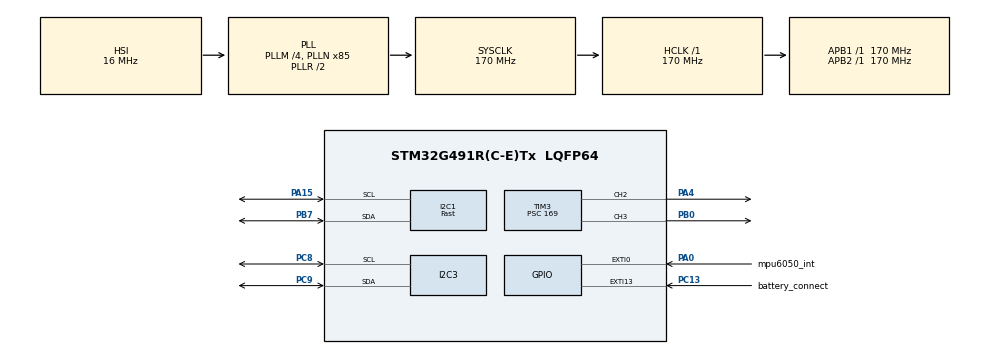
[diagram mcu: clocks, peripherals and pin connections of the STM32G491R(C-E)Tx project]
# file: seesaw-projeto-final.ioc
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Dma.I2C1_RX.0.Direction=DMA_PERIPH_TO_MEMORY
Dma.I2C1_RX.0.EventEnable=DISABLE
Dma.I2C1_RX.0.Instance=DMA1_Channel1
Dma.I2C1_RX.0.MemDataAlignment=DMA_MDATAALIGN_BYTE
Dma.I2C1_RX.0.MemInc=DMA_MINC_ENABLE
Dma.I2C1_RX.0.Mode=DMA_NORMAL
Dma.I2C1_RX.0.PeriphDataAlignment=DMA_PDATAALIGN_BYTE
Dma.I2C1_RX.0.PeriphInc=DMA_PINC_DISABLE
Dma.I2C1_RX.0.Polarity=HAL_DMAMUX_REQ_GEN_RISING
Dma.I2C1_RX.0.Priority=DMA_PRIORITY_LOW
Dma.I2C1_RX.0.RequestNumber=1
Dma.I2C1_RX.0.SignalID=NONE
Dma.I2C1_RX.0.SyncEnable=DISABLE
Dma.I2C1_RX.0.SyncPolarity=HAL_DMAMUX_SYNC_NO_EVENT
Dma.I2C1_RX.0.SyncRequestNumber=1
Dma.I2C1_RX.0.SyncSignalID=NONE
Dma.I2C3_TX.1.Direction=DMA_MEMORY_TO_PERIPH
Dma.I2C3_TX.1.EventEnable=DISABLE
Dma.I2C3_TX.1.Instance=DMA1_Channel2
Dma.I2C3_TX.1.MemDataAlignment=DMA_MDATAALIGN_BYTE
Dma.I2C3_TX.1.MemInc=DMA_MINC_ENABLE
Dma.I2C3_TX.1.Mode=DMA_NORMAL
Dma.I2C3_TX.1.PeriphDataAlignment=DMA_PDATAALIGN_BYTE
Dma.I2C3_TX.1.PeriphInc=DMA_PINC_DISABLE
Dma.I2C3_TX.1.Polarity=HAL_DMAMUX_REQ_GEN_RISING
Dma.I2C3_TX.1.Priority=DMA_PRIORITY_LOW
Dma.I2C3_TX.1.RequestNumber=1
Dma.I2C3_TX.1.SignalID=NONE
Dma.I2C3_TX.1.SyncEnable=DISABLE
Dma.I2C3_TX.1.SyncPolarity=HAL_DMAMUX_SYNC_NO_EVENT
Dma.I2C3_TX.1.SyncRequestNumber=1
Dma.I2C3_TX.1.SyncSignalID=NONE
Dma.Request0=I2C1_RX
Dma.Request1=I2C3_TX
I2C1.I2C_Speed_Mode=I2C_Fast
I2C1.Timing=0x40621236
I2C3.Timing=0x40B285C2
Mcu.Family=STM32G4
Mcu.Name=STM32G491R(C-E)Tx
Mcu.Package=LQFP64
NVIC.DMA1_Channel1_IRQn=true\:0\:0\:false\:false\:true\:false\:true\:true
NVIC.DMA1_Channel2_IRQn=true\:0\:0\:false\:false\:true\:false\:true\:true
NVIC.EXTI0_IRQn=true\:0\:0\:false\:false\:true\:true\:true\:true
NVIC.EXTI15_10_IRQn=true\:0\:0\:false\:false\:true\:true\:true\:true
NVIC.I2C1_ER_IRQn=true\:0\:0\:false\:false\:true\:true\:true\:true
NVIC.I2C1_EV_IRQn=true\:0\:0\:false\:false\:true\:true\:true\:true
NVIC.PriorityGroup=NVIC_PRIORITYGROUP_4
NVIC.RCC_IRQn=true\:0\:0\:false\:false\:true\:true\:false\:true
NVIC.TIM2_IRQn=true\:0\:0\:false\:false\:true\:true\:true\:true
PA0.GPIO_Label=mpu6050_int
PA0.Signal=GPXTI0
PA13.GPIO_Label=T_SWDIO
PA13.Mode=Serial_Wire
PA13.Signal=SYS_JTMS-SWDIO
PA14.GPIO_Label=T_SWCLK
PA14.Mode=Serial_Wire
PA14.Signal=SYS_JTCK-SWCLK
PA15.Mode=I2C
PA15.Signal=I2C1_SCL
PA2.GPIO_Label=LPUART1_TX [STLINKV3E_VCP_RX]
PA2.Signal=LPUART1_TX
PA3.GPIO_Label=LPUART1_RX [STLINKV3E_VCP_TX]
PA3.Signal=LPUART1_RX
PA4.Signal=S_TIM3_CH2
PB0.Signal=S_TIM3_CH3
PB3.GPIO_Label=T_SWO
PB3.Signal=SYS_JTDO-SWO
PB7.Mode=I2C
PB7.Signal=I2C1_SDA
PC13.GPIO_Label=battery_connect
PC13.Signal=GPXTI13
PC14-OSC32_IN.GPIO_Label=RCC_OSC32_IN
PC14-OSC32_IN.Signal=RCC_OSC32_IN
PC15-OSC32_OUT.GPIO_Label=RCC_OSC32_OUT
PC15-OSC32_OUT.Signal=RCC_OSC32_OUT
PC8.Mode=I2C
PC8.Signal=I2C3_SCL
PC9.Mode=I2C
PC9.Signal=I2C3_SDA
PF0-OSC_IN.GPIO_Label=RCC_OSC_IN
PF0-OSC_IN.Signal=RCC_OSC_IN
PF1-OSC_OUT.GPIO_Label=RCC_OSC_OUT
PF1-OSC_OUT.Signal=RCC_OSC_OUT
ProjectManager.HeapSize=0x200
ProjectManager.StackSize=0x400
ProjectManager.TargetToolchain=STM32CubeIDE
RCC.ADC12Freq_Value=170000000
RCC.ADC345Freq_Value=170000000
RCC.AHBFreq_Value=170000000
RCC.APB1Freq_Value=170000000
RCC.APB1TimFreq_Value=170000000
RCC.APB2Freq_Value=170000000
RCC.APB2TimFreq_Value=170000000
RCC.CortexFreq_Value=170000000
RCC.EXTERNAL_CLOCK_VALUE=12288000
RCC.HCLKFreq_Value=170000000
RCC.HSE_VALUE=24000000
RCC.HSI48_VALUE=48000000
RCC.HSI_VALUE=16000000
RCC.LSE_VALUE=32768
RCC.PLLM=RCC_PLLM_DIV4
RCC.PLLN=85
RCC.RTCClockSelection=RCC_RTCCLKSOURCE_LSE
RCC.SYSCLKFreq_VALUE=170000000
RCC.SYSCLKSource=RCC_SYSCLKSOURCE_PLLCLK
RCC.USBFreq_Value=48000000
RCC.VCOOutputFreq_Value=340000000
SH.S_TIM3_CH2.0=TIM3_CH2,PWM Generation2 CH2
SH.S_TIM3_CH3.0=TIM3_CH3,PWM Generation3 CH3
TIM2.PeriodNoDither=1999
TIM2.Prescaler=169
TIM3.Channel-PWM\ Generation2\ CH2=TIM_CHANNEL_2
TIM3.Channel-PWM\ Generation3\ CH3=TIM_CHANNEL_3
TIM3.PeriodNoDither=19999
TIM3.Prescaler=169
VP_SYS_VS_DBSignals.Mode=DisableDeadBatterySignals
VP_TIM2_VS_ClockSourceINT.Mode=Internal
VP_TIM3_VS_ClockSourceINT.Mode=Internal
board=NUCLEO-G491RE

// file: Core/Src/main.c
/* USER CODE BEGIN Header */
/**
  ******************************************************************************
  * @file           : main.c
  * @brief          : Main program body
  ******************************************************************************
  * @attention
  *
  * Copyright (c) 2026 STMicroelectronics.
  * All rights reserved.
  *
  * This software is licensed under terms that can be found in the LICENSE file
  * in the root directory of this software component.
  * If no LICENSE file comes with this software, it is provided AS-IS.
  *
  ******************************************************************************
  */
/* USER CODE END Header */
#include "main.h"
#include "dma.h"
#include "i2c.h"
#include "tim.h"
#include "gpio.h"

/* USER CODE BEGIN Includes */
#include "mpu6050.h"
#include "motor.h"
#include "ssd1306.h"
#include "ssd1306_fonts.h"
#include <stdio.h>
#include <math.h>
/* USER CODE END Includes */

/* USER CODE BEGIN PD */
#define CIRCLE_RADIUS 15
/* USER CODE END PD */

/* USER CODE BEGIN PV */
	uint8_t imu_data_ready = 0,request_data = 0, i2c_failed = 0,batery = 0,arm_ready = 0,transmit_ready = 0,flag_oled_free = 0,updatescreen = 0,x1 = 0,x2 = 0,y1angle = 0,y2 = 0;
	MPU6050_HandleTypeDef hmpu1;
//	extern MOTOR_TypeDef m1;
	float roll = 0,pwm = 0,angle = 0;
/* USER CODE END PV */

void SystemClock_Config(void);

int main(void)
{

  /* USER CODE BEGIN 1 */
	char txt[7] = {0};
  /* USER CODE END 1 */

  /* MCU Configuration--------------------------------------------------------*/

  /* Reset of all peripherals, Initializes the Flash interface and the Systick. */
  HAL_Init();

  /* Configure the system clock */
  SystemClock_Config();

  /* Initialize all configured peripherals */
  MX_GPIO_Init();
  MX_DMA_Init();
  MX_I2C1_Init();
  MX_TIM2_Init();
  MX_TIM3_Init();
  MX_I2C3_Init();
  /* USER CODE BEGIN 2 */

  //initialize the oled display
  ssd1306_Init();
  ssd1306_Fill(Black);
  ssd1306_SetCursor(0, 0);
  ssd1306_WriteString("Porfavor espere", Font_7x10, White);
  ssd1306_SetCursor(0, 11);
  ssd1306_WriteString("mientras", Font_7x10, White);
  ssd1306_SetCursor(0, 22);
  ssd1306_WriteString("configuramos", Font_7x10, White);
  ssd1306_SetCursor(0, 33);
  ssd1306_WriteString("el sistema.", Font_7x10, White);
  ssd1306_UpdateScreen();

  //initialize the imu
  MPU6050_1_Init(&hmpu1, NO_SET_SLEEP, NO_SET_RESET, 1, DISABLE_INT, 0, DISABLE_G_DLPF, 0, DISABLE_A_DLPF, 7, 0, 0, &hi2c1);

  //intialize the motor
//  MOTOR_Init(&m1,&htim3,TIM_CHANNEL_2,1000,2000);

  //prendo la imu (le leo el registro WHO_AM_I hasta que me responda el
  //valor que se guarda en ese registro en todas las mpu6500 por igual 0x70)
  while(MPU6050_Wakeup(&hmpu1)){
	  HAL_Delay(10);
  }

  //calibro el giroscopio de la imu
  MPU6050_calibration(&hmpu1);

  //armo el motor
//  MOTOR_Arm(&m1);
  ssd1306_Fill(Black);
  ssd1306_SetCursor(0, 0);
  ssd1306_WriteString("Motor armado,", Font_7x10, White);
  ssd1306_SetCursor(0, 11);
  ssd1306_WriteString("conecte la bateria", Font_7x10, White);
  ssd1306_SetCursor(0, 22);
  ssd1306_WriteString("luego presione", Font_7x10, White);
  ssd1306_SetCursor(0, 33);
  ssd1306_WriteString("el boton.", Font_7x10, White);
  ssd1306_UpdateScreen();

  arm_ready = 1;
  while(!batery){

  }
  ssd1306_Fill(Black);
  ssd1306_SetCursor(43, 0);
  ssd1306_WriteString("Angulo:", Font_7x10, White);
  ssd1306_UpdateScreen();

  //prendo los timers
  HAL_TIM_Base_Start_IT(&htim2);
  /* USER CODE END 2 */

  /* Infinite loop */
  while (1)
  {

    /* USER CODE BEGIN 3 */
	  /*if(arm_ready == 1){
		  MOTOR_Set(&m1,pwm);
		  arm_ready = 0;
	  }*/

	  //refresh screen
	  if(updatescreen && flag_oled_free){
		  ssd1306_FillRectangle(0,22,127,64,Black);
/*		  angle = roll/57.29578f;
		  x1 = (uint8_t)(cosf(angle) *CIRCLE_RADIUS) + 63;
		  x2 = (uint8_t)(cosf(angle + 3.1415f) * CIRCLE_RADIUS) + 63;
		  y1angle = (uint8_t)(cosf(angle) * CIRCLE_RADIUS) + 45;
		  y2 = (uint8_t)(sinf(angle + 3.1415f) * CIRCLE_RADIUS) + 45;
*/
		  //ssd1306_Line(x1,y1angle,x2,y2,White);
		  ssd1306_DrawArc(63,37,15,90,(int16_t)roll + 180,White);
		  snprintf(txt, sizeof(txt), "%6.1f", roll);
	      ssd1306_SetCursor(40, 11);
  	  	  ssd1306_WriteString(txt, Font_7x10, White);
		  ssd1306_UpdateScreen_DMA(&flag_oled_free);
		  updatescreen = 0;

	  }

	  //request data form the imu at 500Hz (possible interruption implementation)
	  if(request_data){
		  request_data = 0;
		  if(!MPU6050_Request_Read_DMA(&hmpu1)){
			  i2c_failed = 0;
		  }
		  else{
			  i2c_failed = 1;
		  }
	  }
	  //process the data gathered from the imu
	  if(imu_data_ready){
		  imu_data_ready = 0;
		  roll = MPU6050_Compute_Roll_DMA(&hmpu1);
		  pwm = (roll + 90.0f)/180.0f;
		  //pid(roll);
	  }
  }
  /* USER CODE END 3 */
}

void SystemClock_Config(void)
{
  RCC_OscInitTypeDef RCC_OscInitStruct = {0};
  RCC_ClkInitTypeDef RCC_ClkInitStruct = {0};

  /** Configure the main internal regulator output voltage
  */
  HAL_PWREx_ControlVoltageScaling(PWR_REGULATOR_VOLTAGE_SCALE1_BOOST);

  /** Initializes the RCC Oscillators according to the specified parameters
  * in the RCC_OscInitTypeDef structure.
  */
  RCC_OscInitStruct.OscillatorType = RCC_OSCILLATORTYPE_HSI;
  RCC_OscInitStruct.HSIState = RCC_HSI_ON;
  RCC_OscInitStruct.HSICalibrationValue = RCC_HSICALIBRATION_DEFAULT;
  RCC_OscInitStruct.PLL.PLLState = RCC_PLL_ON;
  RCC_OscInitStruct.PLL.PLLSource = RCC_PLLSOURCE_HSI;
  RCC_OscInitStruct.PLL.PLLM = RCC_PLLM_DIV4;
  RCC_OscInitStruct.PLL.PLLN = 85;
  RCC_OscInitStruct.PLL.PLLP = RCC_PLLP_DIV2;
  RCC_OscInitStruct.PLL.PLLQ = RCC_PLLQ_DIV2;
  RCC_OscInitStruct.PLL.PLLR = RCC_PLLR_DIV2;
  if (HAL_RCC_OscConfig(&RCC_OscInitStruct) != HAL_OK)
  {
    Error_Handler();
  }

  /** Initializes the CPU, AHB and APB buses clocks
  */
  RCC_ClkInitStruct.ClockType = RCC_CLOCKTYPE_HCLK|RCC_CLOCKTYPE_SYSCLK
                              |RCC_CLOCKTYPE_PCLK1|RCC_CLOCKTYPE_PCLK2;
  RCC_ClkInitStruct.SYSCLKSource = RCC_SYSCLKSOURCE_PLLCLK;
  RCC_ClkInitStruct.AHBCLKDivider = RCC_SYSCLK_DIV1;
  RCC_ClkInitStruct.APB1CLKDivider = RCC_HCLK_DIV1;
  RCC_ClkInitStruct.APB2CLKDivider = RCC_HCLK_DIV1;

  if (HAL_RCC_ClockConfig(&RCC_ClkInitStruct, FLASH_LATENCY_4) != HAL_OK)
  {
    Error_Handler();
  }
}

/* USER CODE BEGIN 4 */
void HAL_TIM_PeriodElapsedCallback(TIM_HandleTypeDef *htim){
	static uint8_t i = 0;
	if(htim->Instance == TIM2){
		request_data = 1;
		i++;
		if(i >= 250){
			updatescreen = 1;
			//arm_ready = 1;
			i = 0;
		}
	}
}

void HAL_I2C_MemRxCpltCallback(I2C_HandleTypeDef *hi2c){
	if(hi2c->Instance == I2C1){
		imu_data_ready = 1;
	}
	if(hi2c->Instance == I2C1){
		flag_oled_free = 1;
	}
}

void HAL_GPIO_EXTI_Callback(uint16_t GPIO_Pin){
	if(GPIO_Pin == battery_connect_Pin)batery = 1;
	//if(GPIO_Pin == mpu6050_int_Pin)imu_data_ready = 1;
}
/* USER CODE END 4 */

void Error_Handler(void)
{
  __disable_irq();
  while (1)
  {
  }
}
